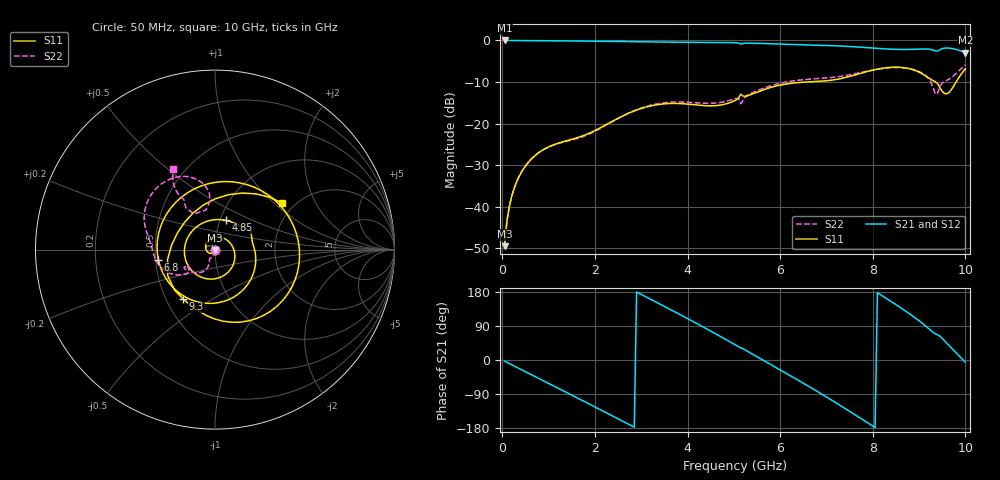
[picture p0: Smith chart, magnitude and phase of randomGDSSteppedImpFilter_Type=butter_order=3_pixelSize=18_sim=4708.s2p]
! freq	dB(S11)	phase(S11)	dB(S12)	phase(S12)
!  dB(S21)	phase(S21)	dB(S22)	phase(S22)
!S-par simulation data
#  GHz  S  DB  R 50
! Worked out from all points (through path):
!   200 points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, 50 MHz to 10 GHz, reference 50 ohm
!   highest |S21| = 0.00 dB at 50 MHz (marker M1); lowest = -2.9 dB at 10 GHz (marker M2)
!   group delay of S21, straight-line fit = 194 ps
!   lowest |S11| = -49.5 dB at 50 MHz (marker M3), VSWR 1.01, Z = 50 - j0.333 ohm
!   |S11| at or under -10 dB: start of sweep to 6.587 GHz; 9.357 GHz to 9.8 GHz (442.8 MHz wide, 4.62 % of centre)
!   |S22| runs from -49.0 to -5.9 dB; largest |S21 - S12| = 0
!   S11 on the Smith chart (normalised r, x): 50 MHz: 1.00, -0.01; 4.85 GHz: 1.06, +0.36; 6.8 GHz: 0.52, -0.06; 9.3 GHz: 0.61, -0.38; 10 GHz: 1.71, +1.13
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0.05  -49.54 -92.6  -0.00 -3.1  -0.00 -3.1  -49.00 -84.7
0.2  -37.68 -107.3  -0.02 -12.4  -0.02 -12.4  -37.62 -94.3
0.5  -30.25 -136.4  -0.05 -30.9  -0.05 -30.9  -30.16 -105.4
1.15  -24.96 155.5  -0.10 -71.0  -0.10 -71.0  -25.02 -119.6
1.75  -22.91 78.8  -0.15 -108.2  -0.15 -108.2  -23.13 -116.5
2.6  -18.18 -27.9  -0.26 -161.5  -0.26 -161.5  -18.18 -114.8
3.4  -15.38 -110.1  -0.40 147.8  -0.40 147.8  -15.16 -133.3
4.15  -15.49 167.5  -0.45 99.5  -0.45 99.5  -14.98 -147.5
4.85  -15.21 69.9  -0.51 52.6  -0.51 52.6  -14.61 -145.8
5.05  -14.32 42.5  -0.57 38.6  -0.57 38.6  -13.97 -147.3
5.85  -11.16 -59.0  -0.83 -15.7  -0.83 -15.7  -10.76 -153.7
6.3  -10.24 -109.6  -1.00 -47.1  -1.00 -47.1  -9.71 -166.1
6.7  -9.94 -157.3  -1.12 -75.5  -1.12 -75.5  -9.27 -176.3
6.8  -9.88 -170.0  -1.15 -82.8  -1.15 -82.8  -9.19 -178.6
7.15  -9.50 143.5  -1.27 -108.7  -1.27 -108.7  -8.87 174.4
7.6  -8.36 82.8  -1.52 -143.2  -1.52 -143.2  -8.05 165.2
8.35  -6.50 -5.1  -2.08 158.1  -2.08 158.1  -6.58 139.2
8.9  -7.16 -65.0  -2.12 112.6  -2.12 112.6  -7.09 112.7
9.3  -9.69 -122.6  -2.30 73.2  -2.30 73.2  -11.24 95.6
9.55  -12.78 157.1  -1.85 50.6  -1.85 50.6  -9.83 122.1
9.8  -10.00 75.8  -2.17 18.7  -2.17 18.7  -7.95 123.3
10  -6.85 35.1  -2.95 -5.7  -2.95 -5.7  -5.92 117.3
